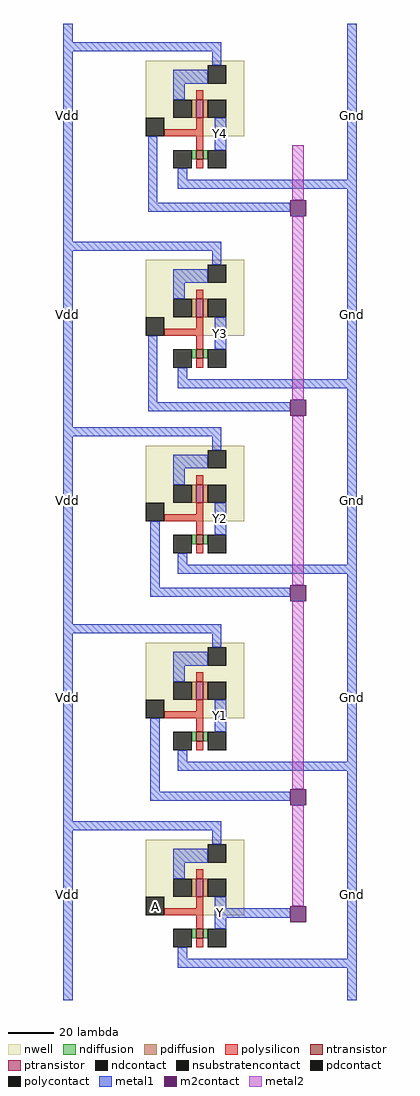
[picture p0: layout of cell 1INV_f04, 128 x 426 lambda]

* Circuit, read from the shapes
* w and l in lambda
.subckt 1INV_f04 A Gnd Vdd Y Y1 Y2 Y3 Y4
M1 Y A Gnd VSUBS nfet w=4 l=3
M2 Y1 Y Gnd VSUBS nfet w=4 l=3
M3 Y2 Y Gnd VSUBS nfet w=4 l=3
M4 Y3 Y Gnd VSUBS nfet w=4 l=3
M5 Y4 Y Gnd VSUBS nfet w=4 l=3
M6 Y A Vdd Vdd pfet w=8 l=3
M7 Y1 Y Vdd Vdd pfet w=8 l=3
M8 Y2 Y Vdd Vdd pfet w=8 l=3
M9 Y3 Y Vdd Vdd pfet w=8 l=3
M10 Y4 Y Vdd Vdd pfet w=8 l=3
.ends

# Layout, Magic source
magic
tech tsmc
<< nwell >>
rect -13 357 30 390
rect -13 270 30 303
rect -13 189 30 222
rect -13 103 30 136
rect -13 17 30 50
<< ntransistor >>
rect 9 347 12 351
rect 9 260 12 264
rect 9 179 12 183
rect 9 93 12 97
rect 9 7 12 11
<< ptransistor >>
rect 9 365 12 373
rect 9 278 12 286
rect 9 197 12 205
rect 9 111 12 119
rect 9 25 12 33
<< ndiffusion >>
rect 7 347 9 351
rect 12 347 14 351
rect 7 260 9 264
rect 12 260 14 264
rect 7 179 9 183
rect 12 179 14 183
rect 7 93 9 97
rect 12 93 14 97
rect 7 7 9 11
rect 12 7 14 11
<< pdiffusion >>
rect 7 365 9 373
rect 12 365 14 373
rect 7 278 9 286
rect 12 278 14 286
rect 7 197 9 205
rect 12 197 14 205
rect 7 111 9 119
rect 12 111 14 119
rect 7 25 9 33
rect 12 25 14 33
<< ndcontact >>
rect -1 343 7 351
rect 14 343 22 351
rect -1 256 7 264
rect 14 256 22 264
rect -1 175 7 183
rect 14 175 22 183
rect -1 89 7 97
rect 14 89 22 97
rect -1 3 7 11
rect 14 3 22 11
<< pdcontact >>
rect -1 365 7 373
rect 14 365 22 373
rect -1 278 7 286
rect 14 278 22 286
rect -1 197 7 205
rect 14 197 22 205
rect -1 111 7 119
rect 14 111 22 119
rect -1 25 7 33
rect 14 25 22 33
<< nsubstratencontact >>
rect 14 380 22 388
rect 14 293 22 301
rect 14 212 22 220
rect 14 126 22 134
rect 14 40 22 48
<< polysilicon >>
rect 9 373 12 377
rect 9 360 12 365
rect -5 357 12 360
rect 9 351 12 357
rect 9 343 12 347
rect 9 286 12 290
rect 9 273 12 278
rect -5 270 12 273
rect 9 264 12 270
rect 9 256 12 260
rect 9 205 12 209
rect 9 192 12 197
rect -5 189 12 192
rect 9 183 12 189
rect 9 175 12 179
rect 9 119 12 123
rect 9 106 12 111
rect -5 103 12 106
rect 9 97 12 103
rect 9 89 12 93
rect 9 33 12 37
rect 9 20 12 25
rect -5 17 12 20
rect 9 11 12 17
rect 9 3 12 7
<< polycontact >>
rect -13 357 -5 365
rect -13 270 -5 278
rect -13 189 -5 197
rect -13 103 -5 111
rect -13 17 -5 25
<< metal1 >>
rect -49 398 -45 406
rect -49 394 20 398
rect -49 311 -45 394
rect 16 388 20 394
rect -1 380 14 386
rect -1 373 4 380
rect -12 328 -8 357
rect 17 351 22 365
rect 1 338 5 343
rect 75 338 79 406
rect 1 334 79 338
rect -12 324 50 328
rect -49 307 20 311
rect -49 230 -45 307
rect 16 301 20 307
rect -1 293 14 299
rect -1 286 4 293
rect -12 241 -8 270
rect 17 264 22 278
rect 1 251 5 256
rect 75 251 79 334
rect 1 247 79 251
rect -12 237 50 241
rect -49 226 20 230
rect -49 144 -45 226
rect 16 220 20 226
rect -1 212 14 218
rect -1 205 4 212
rect -11 160 -7 189
rect 17 183 22 197
rect 1 170 5 175
rect 75 170 79 247
rect 1 166 79 170
rect -11 156 50 160
rect -49 140 20 144
rect -49 58 -45 140
rect 16 134 20 140
rect -1 126 14 132
rect -1 119 4 126
rect -11 71 -7 103
rect 17 97 22 111
rect 1 84 5 89
rect 75 84 79 166
rect 1 80 79 84
rect -11 67 50 71
rect -49 54 20 58
rect -49 -20 -45 54
rect 16 48 20 54
rect -1 40 14 46
rect -1 33 4 40
rect 17 20 22 25
rect 17 16 50 20
rect 17 11 22 16
rect 1 -2 5 3
rect 75 -2 79 80
rect 1 -6 79 -2
rect 75 -20 79 -6
<< m2contact >>
rect 50 322 57 329
rect 50 235 57 242
rect 50 154 57 161
rect 50 65 57 72
rect 50 14 57 21
<< metal2 >>
rect 51 329 56 353
rect 51 242 56 322
rect 51 161 56 235
rect 51 72 56 154
rect 51 21 56 65
<< labels >>
rlabel polycontact -13 17 -5 25 1 A
rlabel metal1 17 11 22 25 1 Y
rlabel metal1 75 -14 79 66 7 Gnd
rlabel metal1 -49 -14 -45 66 3 Vdd
rlabel metal1 -49 72 -45 152 3 Vdd
rlabel metal1 75 72 79 152 7 Gnd
rlabel metal1 -49 158 -45 238 3 Vdd
rlabel metal1 75 158 79 238 7 Gnd
rlabel metal1 -49 239 -45 319 3 Vdd
rlabel metal1 75 239 79 319 7 Gnd
rlabel metal1 17 97 22 111 1 Y1
rlabel metal1 17 183 22 197 1 Y2
rlabel metal1 17 264 22 278 1 Y3
rlabel metal1 -49 326 -45 406 3 Vdd
rlabel metal1 75 326 79 406 7 Gnd
rlabel metal1 17 351 22 365 1 Y4
<< end >>
